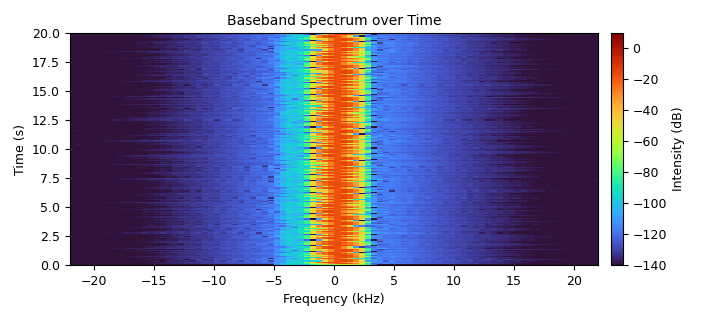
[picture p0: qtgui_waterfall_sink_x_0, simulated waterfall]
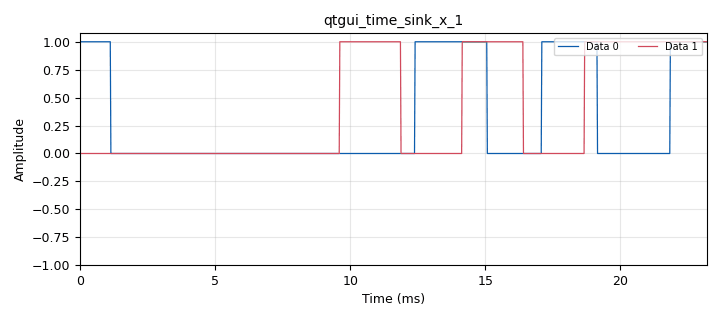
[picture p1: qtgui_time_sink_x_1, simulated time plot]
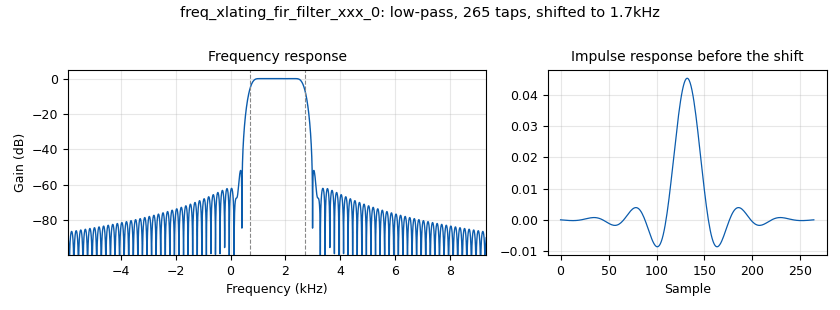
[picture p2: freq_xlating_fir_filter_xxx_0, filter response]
<?xml version='1.0' encoding='utf-8'?>
<?grc format='1' created='3.7.6'?>
<flow_graph>
<block>
<key>analog_sig_source_x</key>
<param><key>id</key><value>analog_sig_source_x_0</value></param>
<param><key>type</key><value>float</value></param>
<param><key>samp_rate</key><value>samp_rate</value></param>
<param><key>waveform</key><value>analog.GR_COS_WAVE</value></param>
<param><key>freq</key><value>1200</value></param>
<param><key>amp</key><value>1</value></param>
<param><key>offset</key><value>0</value></param>
</block>
<block>
<key>variable</key>
<param><key>id</key><value>samp_rate</value></param>
<param><key>value</key><value>44.1e3</value></param>
</block>
<block>
<key>analog_const_source_x</key>
<param><key>id</key><value>analog_const_source_x_0</value></param>
<param><key>type</key><value>float</value></param>
<param><key>const</key><value>1</value></param>
</block>
<block>
<key>blocks_multiply_xx</key>
<param><key>id</key><value>blocks_multiply_xx_0_0</value></param>
<param><key>type</key><value>float</value></param>
</block>
<block>
<key>blocks_repeat</key>
<param><key>id</key><value>blocks_repeat_0</value></param>
<param><key>type</key><value>byte</value></param>
<param><key>interp</key><value>100</value></param>
</block>
<block>
<key>blocks_multiply_xx</key>
<param><key>id</key><value>blocks_multiply_xx_0</value></param>
<param><key>type</key><value>float</value></param>
</block>
<block>
<key>blocks_sub_xx</key>
<param><key>id</key><value>blocks_sub_xx_0</value></param>
<param><key>type</key><value>float</value></param>
</block>
<block>
<key>analog_sig_source_x</key>
<param><key>id</key><value>analog_sig_source_x_1</value></param>
<param><key>type</key><value>float</value></param>
<param><key>samp_rate</key><value>samp_rate</value></param>
<param><key>waveform</key><value>analog.GR_COS_WAVE</value></param>
<param><key>freq</key><value>2200</value></param>
<param><key>amp</key><value>1</value></param>
<param><key>offset</key><value>0</value></param>
</block>
<block>
<key>blocks_add_xx</key>
<param><key>id</key><value>blocks_add_xx_0</value></param>
<param><key>type</key><value>float</value></param>
</block>
<block>
<key>blocks_throttle</key>
<param><key>id</key><value>blocks_throttle_0</value></param>
<param><key>type</key><value>float</value></param>
<param><key>samples_per_second</key><value>samp_rate</value></param>
</block>
<block>
<key>digital_binary_slicer_fb</key>
<param><key>id</key><value>digital_binary_slicer_fb_0</value></param>
</block>
<block>
<key>blocks_vector_source_x</key>
<param><key>id</key><value>blocks_vector_source_x_0</value></param>
<param><key>type</key><value>byte</value></param>
<param><key>vector</key><value>[0,0,0,0,0,1,0,1,0,1,1,1,1]</value></param>
<param><key>repeat</key><value>True</value></param>
</block>
<block>
<key>analog_random_source_x</key>
<param><key>id</key><value>analog_random_source_x_0</value></param>
<param><key>_enabled</key><value>False</value></param>
<param><key>type</key><value>byte</value></param>
<param><key>min</key><value>0</value></param>
<param><key>max</key><value>2</value></param>
<param><key>num_samps</key><value>1000</value></param>
<param><key>repeat</key><value>True</value></param>
</block>
<block>
<key>blocks_char_to_float</key>
<param><key>id</key><value>blocks_char_to_float_1</value></param>
<param><key>scale</key><value>1</value></param>
</block>
<block>
<key>blocks_char_to_float</key>
<param><key>id</key><value>blocks_char_to_float_0</value></param>
<param><key>scale</key><value>1</value></param>
</block>
<block>
<key>qtgui_time_sink_x</key>
<param><key>id</key><value>qtgui_time_sink_x_0</value></param>
<param><key>_enabled</key><value>False</value></param>
<param><key>type</key><value>float</value></param>
<param><key>size</key><value>4410</value></param>
<param><key>srate</key><value>samp_rate</value></param>
<param><key>label1</key><value></value></param>
<param><key>color1</key><value>"blue"</value></param>
</block>
<block>
<key>analog_quadrature_demod_cf</key>
<param><key>id</key><value>analog_quadrature_demod_cf_0</value></param>
<param><key>gain</key><value>-samp_rate/(2*math.pi*1000/8.0)</value></param>
</block>
<block>
<key>options</key>
<param><key>id</key><value>top_block</value></param>
<param><key>generate_options</key><value>wx_gui</value></param>
<param><key>category</key><value>Custom</value></param>
</block>
<block>
<key>freq_xlating_fir_filter_xxx</key>
<param><key>id</key><value>freq_xlating_fir_filter_xxx_0</value></param>
<param><key>type</key><value>fcc</value></param>
<param><key>decim</key><value>1</value></param>
<param><key>taps</key><value>firdes.low_pass(1.0,samp_rate,1000,400)</value></param>
<param><key>center_freq</key><value>(2200+1200)/2</value></param>
<param><key>samp_rate</key><value>samp_rate</value></param>
</block>
<block>
<key>qtgui_waterfall_sink_x</key>
<param><key>id</key><value>qtgui_waterfall_sink_x_0</value></param>
<param><key>type</key><value>complex</value></param>
<param><key>name</key><value>"Baseband Spectrum over Time"</value></param>
<param><key>fftsize</key><value>88</value></param>
<param><key>wintype</key><value>firdes.WIN_BLACKMAN_hARRIS</value></param>
<param><key>fc</key><value>0</value></param>
<param><key>bw</key><value>samp_rate</value></param>
<param><key>showports</key><value>True</value></param>
</block>
<block>
<key>wxgui_waterfallsink2</key>
<param><key>id</key><value>wxgui_waterfallsink2_0</value></param>
<param><key>_enabled</key><value>False</value></param>
<param><key>type</key><value>complex</value></param>
<param><key>title</key><value>Waterfall Plot</value></param>
<param><key>samp_rate</key><value>samp_rate</value></param>
<param><key>baseband_freq</key><value>0</value></param>
<param><key>dynamic_range</key><value>100</value></param>
<param><key>ref_level</key><value>0</value></param>
<param><key>ref_scale</key><value>2.0</value></param>
<param><key>fft_size</key><value>512</value></param>
<param><key>fft_rate</key><value>15</value></param>
<param><key>average</key><value>False</value></param>
<param><key>avg_alpha</key><value>0</value></param>
<param><key>win</key><value>None</value></param>
<param><key>freqvar</key><value>None</value></param>
</block>
<block>
<key>wxgui_scopesink2</key>
<param><key>id</key><value>wxgui_scopesink2_0</value></param>
<param><key>_enabled</key><value>False</value></param>
<param><key>type</key><value>float</value></param>
<param><key>title</key><value>Scope Plot</value></param>
<param><key>samp_rate</key><value>samp_rate</value></param>
<param><key>v_scale</key><value>0</value></param>
<param><key>v_offset</key><value>0</value></param>
<param><key>t_scale</key><value>0</value></param>
<param><key>ac_couple</key><value>False</value></param>
<param><key>xy_mode</key><value>False</value></param>
<param><key>num_inputs</key><value>2</value></param>
<param><key>trig_mode</key><value>wxgui.TRIG_MODE_AUTO</value></param>
<param><key>y_axis_label</key><value>Counts</value></param>
</block>
<block>
<key>qtgui_time_sink_x</key>
<param><key>id</key><value>qtgui_time_sink_x_1</value></param>
<param><key>type</key><value>float</value></param>
<param><key>size</key><value>1024</value></param>
<param><key>srate</key><value>samp_rate</value></param>
<param><key>nconnections</key><value>2</value></param>
<param><key>label1</key><value></value></param>
<param><key>color1</key><value>"blue"</value></param>
<param><key>label2</key><value></value></param>
<param><key>color2</key><value>"red"</value></param>
</block>
<connection><source_block_id>blocks_multiply_xx_0</source_block_id><sink_block_id>blocks_add_xx_0</sink_block_id><source_key>0</source_key><sink_key>0</sink_key></connection>
<connection><source_block_id>analog_sig_source_x_1</source_block_id><sink_block_id>blocks_multiply_xx_0_0</sink_block_id><source_key>0</source_key><sink_key>0</sink_key></connection>
<connection><source_block_id>blocks_multiply_xx_0_0</source_block_id><sink_block_id>blocks_add_xx_0</sink_block_id><source_key>0</source_key><sink_key>1</sink_key></connection>
<connection><source_block_id>analog_sig_source_x_0</source_block_id><sink_block_id>blocks_multiply_xx_0</sink_block_id><source_key>0</source_key><sink_key>0</sink_key></connection>
<connection><source_block_id>analog_const_source_x_0</source_block_id><sink_block_id>blocks_sub_xx_0</sink_block_id><source_key>0</source_key><sink_key>0</sink_key></connection>
<connection><source_block_id>blocks_sub_xx_0</source_block_id><sink_block_id>blocks_multiply_xx_0_0</sink_block_id><source_key>0</source_key><sink_key>1</sink_key></connection>
<connection><source_block_id>blocks_char_to_float_0</source_block_id><sink_block_id>blocks_sub_xx_0</sink_block_id><source_key>0</source_key><sink_key>1</sink_key></connection>
<connection><source_block_id>blocks_char_to_float_0</source_block_id><sink_block_id>blocks_multiply_xx_0</sink_block_id><source_key>0</source_key><sink_key>1</sink_key></connection>
<connection><source_block_id>blocks_repeat_0</source_block_id><sink_block_id>blocks_char_to_float_0</sink_block_id><source_key>0</source_key><sink_key>0</sink_key></connection>
<connection><source_block_id>analog_random_source_x_0</source_block_id><sink_block_id>blocks_repeat_0</sink_block_id><source_key>0</source_key><sink_key>0</sink_key></connection>
<connection><source_block_id>blocks_vector_source_x_0</source_block_id><sink_block_id>blocks_repeat_0</sink_block_id><source_key>0</source_key><sink_key>0</sink_key></connection>
<connection><source_block_id>blocks_add_xx_0</source_block_id><sink_block_id>blocks_throttle_0</sink_block_id><source_key>0</source_key><sink_key>0</sink_key></connection>
<connection><source_block_id>blocks_throttle_0</source_block_id><sink_block_id>freq_xlating_fir_filter_xxx_0</sink_block_id><source_key>0</source_key><sink_key>0</sink_key></connection>
<connection><source_block_id>freq_xlating_fir_filter_xxx_0</source_block_id><sink_block_id>qtgui_waterfall_sink_x_0</sink_block_id><source_key>0</source_key><sink_key>0</sink_key></connection>
<connection><source_block_id>freq_xlating_fir_filter_xxx_0</source_block_id><sink_block_id>analog_quadrature_demod_cf_0</sink_block_id><source_key>0</source_key><sink_key>0</sink_key></connection>
<connection><source_block_id>analog_quadrature_demod_cf_0</source_block_id><sink_block_id>qtgui_time_sink_x_0</sink_block_id><source_key>0</source_key><sink_key>0</sink_key></connection>
<connection><source_block_id>analog_quadrature_demod_cf_0</source_block_id><sink_block_id>digital_binary_slicer_fb_0</sink_block_id><source_key>0</source_key><sink_key>0</sink_key></connection>
<connection><source_block_id>digital_binary_slicer_fb_0</source_block_id><sink_block_id>blocks_char_to_float_1</sink_block_id><source_key>0</source_key><sink_key>0</sink_key></connection>
<connection><source_block_id>blocks_char_to_float_1</source_block_id><sink_block_id>qtgui_time_sink_x_1</sink_block_id><source_key>0</source_key><sink_key>0</sink_key></connection>
<connection><source_block_id>blocks_char_to_float_0</source_block_id><sink_block_id>qtgui_time_sink_x_1</sink_block_id><source_key>0</source_key><sink_key>1</sink_key></connection>
<connection><source_block_id>freq_xlating_fir_filter_xxx_0</source_block_id><sink_block_id>wxgui_waterfallsink2_0</sink_block_id><source_key>0</source_key><sink_key>0</sink_key></connection>
<connection><source_block_id>blocks_char_to_float_1</source_block_id><sink_block_id>wxgui_scopesink2_0</sink_block_id><source_key>0</source_key><sink_key>0</sink_key></connection>
<connection><source_block_id>blocks_char_to_float_0</source_block_id><sink_block_id>wxgui_scopesink2_0</sink_block_id><source_key>0</source_key><sink_key>1</sink_key></connection>
</flow_graph>
